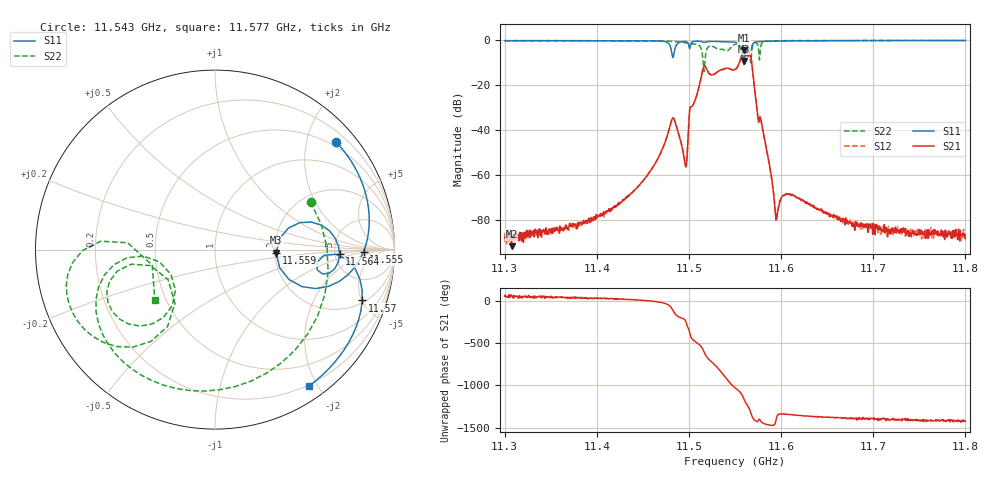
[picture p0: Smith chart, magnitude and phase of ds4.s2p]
! Created with skrf (http://scikit-rf.org).
# Hz S RI R 50.0
!freq ReS11 ImS11 ReS21 ImS21 ReS12 ImS12 ReS22 ImS22
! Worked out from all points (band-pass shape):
!   1001 points, 11.3 GHz to 11.8 GHz, reference 50 ohm
!   highest |S21| = -4.53 dB at 11.559 GHz (marker M1); lowest = -91.8 dB at 11.307 GHz (marker M2)
!   |S21| within 3 dB of the highest: 11.55665 GHz to 11.56718 GHz (10.54 MHz wide, 0.0911 % of centre)
!   lowest |S11| = -9.3 dB at 11.559 GHz (marker M3), VSWR 2.04, Z = 102 - j4.07 ohm
!   |S11| at or under -10 dB: nowhere
!   |S22| runs from -14.0 to -0.2 dB; largest |S21 - S12| = 0.019
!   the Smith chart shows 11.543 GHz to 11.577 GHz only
!   S11 on the Smith chart (normalised r, x): 11.543 GHz: 0.40, +2.58; 11.555 GHz: 11, -1; 11.559 GHz: 2.03, -0.08; 11.564 GHz: 5.48, -0.56; 11.57 GHz: 2.20, -5.03; 11.577 GHz: 0.18, -1.90
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1.13e10  -0.8071 0.5273  2.25e-05 3.12e-05  2.13e-05 4.5e-05  -0.7586 0.5956
1.13075e10  -0.7947 0.5462  1.55e-05 2.06e-05  3.15e-05 2.75e-05  -0.7437 0.6147
1.13835e10  -0.6177 0.7394  6.37e-05 4.3e-05  7.27e-05 3.98e-05  -0.5163 0.8136
1.1467e10  -0.0152 0.9492  0.00233 -0.000738  0.00234 -0.00074  0.3643 0.8805
1.1483e10  -0.0774 -0.4071  -0.0102 -0.0151  -0.00995 -0.0156  0.8181 0.4408
1.14955e10  -0.2966 0.8743  -0.00135 0.00137  -0.00134 0.00147  0.6595 -0.573
1.15e10  -0.0457 0.7357  0.0152 0.00389  0.0155 0.00322  0.1354 -0.8334
1.1509e10  -0.0791 0.9389  -0.05 -0.0406  -0.0503 -0.0378  -0.7895 -0.0553
1.1525e10  0.249 0.8977  0.1656 -0.0224  0.1633 -0.0237  -0.042 0.7288
1.15295e10  0.3597 0.8531  0.1084 -0.1501  0.1064 -0.1532  0.6416 0.1251
1.15375e10  0.545 0.7271  -0.2119 -0.0825  -0.2073 -0.0744  -0.6082 0.0753
1.1543e10  0.6756 0.5992  -0.1357 0.1902  -0.1328 0.1904  0.5324 0.2649
1.155e10  0.8391 0.3127  0.1412 0.1706  0.144 0.1605  -0.1361 -0.7859
1.15545e10  0.8276 -0.0119  0.3023 0.0491  0.2901 0.0407  -0.6272 -0.4706
1.15595e10  0.3413 -0.0177  0.1099 -0.5831  0.1028 -0.5726  -0.2455 -0.1375
1.1564e10  0.6938 -0.0266  -0.4356 -0.0942  -0.4195 -0.0843  -0.5957 -0.2967
1.15705e10  0.8203 -0.2832  0.0921 0.0668  0.0885 0.0627  -0.6822 -0.4826
1.1577e10  0.5256 -0.7588  0.0167 0.0102  0.0161 0.0101  -0.3354 -0.2809
1.1595e10  -0.5065 -0.7975  5.98e-05 7.84e-05  6.24e-05 8.13e-05  -0.9585 0.0847
1.16335e10  -0.9601 0.082  6.95e-05 0.000198  5.34e-05 0.000194  -0.8421 0.4821
1.1717e10  -0.68 0.6943  4.59e-05 3.48e-05  3.4e-05 3.5e-05  -0.5749 0.7869
1.18e10  -0.415 0.8829  3.63e-05 9.75e-06  4.51e-05 1.76e-05  -0.3474 0.9122
